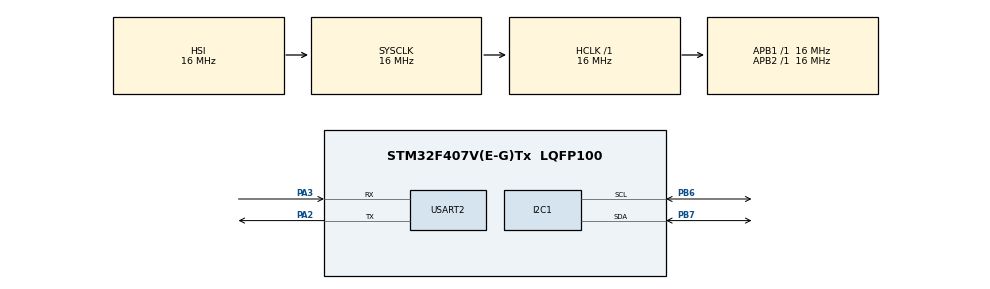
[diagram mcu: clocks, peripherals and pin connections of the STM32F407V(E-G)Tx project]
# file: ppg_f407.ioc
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I2C1.I2C_Mode=I2C_Fast
Mcu.Family=STM32F4
Mcu.Name=STM32F407V(E-G)Tx
Mcu.Package=LQFP100
NVIC.PriorityGroup=NVIC_PRIORITYGROUP_4
PA13.Mode=Serial_Wire
PA13.Signal=SYS_JTMS-SWDIO
PA14.Mode=Serial_Wire
PA14.Signal=SYS_JTCK-SWCLK
PA2.Mode=Asynchronous
PA2.Signal=USART2_TX
PA3.Mode=Asynchronous
PA3.Signal=USART2_RX
PB6.Mode=I2C
PB6.Signal=I2C1_SCL
PB7.Mode=I2C
PB7.Signal=I2C1_SDA
PH0-OSC_IN.Mode=HSE-External-Oscillator
PH0-OSC_IN.Signal=RCC_OSC_IN
PH1-OSC_OUT.Mode=HSE-External-Oscillator
PH1-OSC_OUT.Signal=RCC_OSC_OUT
ProjectManager.HeapSize=0x200
ProjectManager.StackSize=0x400
ProjectManager.TargetToolchain=STM32CubeIDE
RCC.AHBFreq_Value=16000000
RCC.APB1Freq_Value=16000000
RCC.APB2Freq_Value=16000000
RCC.CortexFreq_Value=16000000
RCC.HSE_VALUE=25000000
RCC.HSI_VALUE=16000000
RCC.LSE_VALUE=32768
RCC.SYSCLKFreq_VALUE=16000000
RCC.VCOOutputFreq_Value=192000000
USART2.VirtualMode=VM_ASYNC
board=custom

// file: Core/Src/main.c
/* USER CODE BEGIN Header */
/**
  ******************************************************************************
  * @file           : main.c
  * @brief          : Main program body
  ******************************************************************************
  * @attention
  *
  * Copyright (c) 2026 STMicroelectronics.
  * All rights reserved.
  *
  * This software is licensed under terms that can be found in the LICENSE file
  * in the root directory of this software component.
  * If no LICENSE file comes with this software, it is provided AS-IS.
  *
  ******************************************************************************
  */
/* USER CODE END Header */
#include "main.h"

/* USER CODE BEGIN Includes */
#include <stdio.h>
#include <string.h>
#include "dsp_nlms.h"
#include "sqi_model.h"
/* USER CODE END Includes */

/* USER CODE BEGIN PD */
#define MAX30102_ADDR      (0x57 << 1)   /* HAL dung dia chi 7-bit dich trai 1 */

#define REG_INTR_ENABLE_1  0x02
#define REG_INTR_ENABLE_2  0x03
#define REG_FIFO_WR_PTR    0x04
#define REG_OVF_COUNTER    0x05
#define REG_FIFO_RD_PTR    0x06
#define REG_FIFO_DATA      0x07
#define REG_FIFO_CONFIG    0x08
#define REG_MODE_CONFIG    0x09
#define REG_SPO2_CONFIG    0x0A
#define REG_LED1_PA        0x0C          /* Red */
#define REG_LED2_PA        0x0D          /* IR  */
#define REG_PART_ID        0xFF          /* doc ra 0x15 neu dung MAX30102 */

#define USE_OLED           1             /* dat 0 khi THU DU LIEU de dong bo PPG-gia toc tot hon */

/* MPU6050 (AD0 de trong / noi GND -> 0x68) */
#define MPU_ADDR           (0x68 << 1)
#define MPU_REG_SMPLRT_DIV 0x19
#define MPU_REG_CONFIG     0x1A
#define MPU_REG_ACCEL_CFG  0x1C
#define MPU_REG_ACCEL_OUT  0x3B
#define MPU_REG_PWR_MGMT_1 0x6B
#define MPU_REG_WHO_AM_I   0x75

#define OLED_ADDR          (0x3C << 1)   /* SSD1306; mot so module la 0x3D */
#define OLED_W             128
#define OLED_H             64
#define WAVE_LEN           128
/* USER CODE END PD */

I2C_HandleTypeDef hi2c1;

UART_HandleTypeDef huart2;

void SystemClock_Config(void);
static void MX_GPIO_Init(void);
static void MX_I2C1_Init(void);
static void MX_USART2_UART_Init(void);

/* USER CODE BEGIN 0 */
/* Cho phep printf() gui qua USART2 */
int __io_putchar(int ch)
{
    ITM_SendChar(ch);                      /* xem bang SWV; khong bat SWV thi bo qua */
    HAL_UART_Transmit(&huart2, (uint8_t *)&ch, 1, 10);   /* gui qua USB-TTL (PA2) */
    return ch;
}

static HAL_StatusTypeDef max_write(uint8_t reg, uint8_t val)
{
    return HAL_I2C_Mem_Write(&hi2c1, MAX30102_ADDR, reg, I2C_MEMADD_SIZE_8BIT, &val, 1, 50);
}

static HAL_StatusTypeDef max_read(uint8_t reg, uint8_t *buf, uint16_t len)
{
    return HAL_I2C_Mem_Read(&hi2c1, MAX30102_ADDR, reg, I2C_MEMADD_SIZE_8BIT, buf, len, 50);
}

static void i2c_scan(void)
{
    printf("Quet I2C...\r\n");
    int found = 0;
    for (uint8_t a = 1; a < 128; a++) {
        if (HAL_I2C_IsDeviceReady(&hi2c1, a << 1, 1, 10) == HAL_OK) {
            printf("  Thay thiet bi tai 0x%02X\r\n", a);
            found++;
        }
    }
    if (!found) printf("  Khong thay thiet bi nao. Kiem tra day, nguon 3V, SCL/SDA.\r\n");
}

static int max30102_init(void)
{
    uint8_t id = 0;
    if (max_read(REG_PART_ID, &id, 1) != HAL_OK) return -1;
    printf("PART_ID = 0x%02X (mong doi 0x15)\r\n", id);
    if (id != 0x15) return -2;

    max_write(REG_MODE_CONFIG, 0x40);      /* reset */
    HAL_Delay(100);

    max_write(REG_INTR_ENABLE_1, 0x00);    /* khong dung ngat */
    max_write(REG_INTR_ENABLE_2, 0x00);
    max_write(REG_FIFO_WR_PTR, 0x00);      /* xoa con tro FIFO */
    max_write(REG_OVF_COUNTER, 0x00);
    max_write(REG_FIFO_RD_PTR, 0x00);

    max_write(REG_FIFO_CONFIG, 0x10);      /* khong trung binh, rollover bat */
    max_write(REG_SPO2_CONFIG, 0x27);      /* ADC 4096nA, 100 Hz, 18-bit */
    max_write(REG_LED1_PA, 0x24);          /* LED Red ~7 mA */
    max_write(REG_LED2_PA, 0x24);          /* LED IR  ~7 mA */
    max_write(REG_MODE_CONFIG, 0x03);      /* che do SpO2: Red + IR */
    return 0;
}

/* Doc tat ca mau dang co trong FIFO, in ra "index,red,ir" */
/* ---------------- MPU6050 ---------------- */
static int16_t g_ax = 0, g_ay = 0, g_az = 0;   /* gia tri tho; +-4g -> 8192 LSB/g */

static int mpu6050_init(void)
{
    uint8_t id = 0, v;
    if (HAL_I2C_Mem_Read(&hi2c1, MPU_ADDR, MPU_REG_WHO_AM_I, I2C_MEMADD_SIZE_8BIT, &id, 1, 50) != HAL_OK)
        return -1;
    printf("MPU6050 WHO_AM_I = 0x%02X (mong doi 0x68)\r\n", id);
    if (id != 0x68) return -2;
    v = 0x00; HAL_I2C_Mem_Write(&hi2c1, MPU_ADDR, MPU_REG_PWR_MGMT_1, I2C_MEMADD_SIZE_8BIT, &v, 1, 50); /* danh thuc */
    HAL_Delay(50);
    v = 0x03; HAL_I2C_Mem_Write(&hi2c1, MPU_ADDR, MPU_REG_CONFIG,     I2C_MEMADD_SIZE_8BIT, &v, 1, 50); /* loc so ~44 Hz */
    v = 0x07; HAL_I2C_Mem_Write(&hi2c1, MPU_ADDR, MPU_REG_SMPLRT_DIV, I2C_MEMADD_SIZE_8BIT, &v, 1, 50); /* 1 kHz/8 = 125 Hz noi bo */
    v = 0x08; HAL_I2C_Mem_Write(&hi2c1, MPU_ADDR, MPU_REG_ACCEL_CFG,  I2C_MEMADD_SIZE_8BIT, &v, 1, 50); /* +-4g */
    return 0;
}

static void mpu6050_read(void)
{
    uint8_t b[6];
    if (HAL_I2C_Mem_Read(&hi2c1, MPU_ADDR, MPU_REG_ACCEL_OUT, I2C_MEMADD_SIZE_8BIT, b, 6, 50) != HAL_OK) return;
    g_ax = (int16_t)((b[0] << 8) | b[1]);
    g_ay = (int16_t)((b[2] << 8) | b[3]);
    g_az = (int16_t)((b[4] << 8) | b[5]);
}

static uint32_t g_red = 0, g_ir = 0;
static uint32_t wave[WAVE_LEN];
static uint32_t wave_cnt = 0;
static PPG_NLMS g_nlms;
static SQI_State g_sqi;
static float g_ppg_bp = 0.0f, g_ppg_nlms = 0.0f;

#define SESS_TOTAL_SAMPLES  6000U   /* 60 s @ 100 Hz */
#define PREPARE_SECONDS     5U      /* dem nguoc 5s chuan bi truoc khi do */
#define FINGER_IR_THRESH    50000U  /* nguong nhan biet co ngon tay */

typedef enum {
    STATE_IDLE = 0,
    STATE_PREPARE = 1,
    STATE_MEASURING = 2,
    STATE_RESULT = 3
} MeasState;

static MeasState g_state = STATE_IDLE;
static uint32_t g_prep_start_ms = 0;
static uint32_t g_sess_samples = 0;
static uint16_t g_finger_cnt = 0;
static uint16_t g_win_total = 0;
static uint16_t g_win_good = 0;
static float g_hr_good_sum = 0.0f;
static uint16_t g_hr_good_cnt = 0;
static float g_hr_all_sum = 0.0f;
static uint16_t g_hr_all_cnt = 0;
static int g_res_hr = 0;
static int g_res_sqi_pct = 0;

static void prepare_start(void)
{
    g_prep_start_ms = HAL_GetTick();
    g_finger_cnt = 0;
    g_state = STATE_PREPARE;
    printf("=== CHUAN BI %uS... ===\r\n", (unsigned)PREPARE_SECONDS);
}

static void session_start(void)
{
    ppg_nlms_init(&g_nlms);
    sqi_init(&g_sqi);
    wave_cnt = 0;
    g_sess_samples = 0;
    g_win_total = 0;
    g_win_good = 0;
    g_hr_good_sum = 0.0f;
    g_hr_good_cnt = 0;
    g_hr_all_sum = 0.0f;
    g_hr_all_cnt = 0;
    g_res_hr = 0;
    g_res_sqi_pct = 0;
    g_state = STATE_MEASURING;
    printf("=== BAT DAU DO 60S ===\r\n");
}

static void session_finish(void)
{
    if (g_hr_good_cnt > 0) {
        g_res_hr = (int)(g_hr_good_sum / (float)g_hr_good_cnt + 0.5f);
    } else if (g_hr_all_cnt > 0) {
        g_res_hr = (int)(g_hr_all_sum / (float)g_hr_all_cnt + 0.5f);
    } else {
        g_res_hr = (int)(g_nlms.hr_bpm + 0.5f);
    }
    g_res_sqi_pct = (g_win_total > 0) ? (int)((100U * g_win_good) / g_win_total) : 0;
    g_state = STATE_RESULT;
    printf("=== KET QUA 60S: HR_avg=%d bpm | SQI=%u/%u (%d%% GOOD) | STATUS=%s ===\r\n",
           g_res_hr, (unsigned)g_win_good, (unsigned)g_win_total, g_res_sqi_pct,
           (g_res_sqi_pct >= 50) ? "OK" : "RETRY");
}

static void max30102_poll_and_print(void)
{
    static uint32_t idx = 0;
    uint8_t wr, rd;
    if (max_read(REG_FIFO_WR_PTR, &wr, 1) != HAL_OK) return;
    if (max_read(REG_FIFO_RD_PTR, &rd, 1) != HAL_OK) return;

    int n = (wr - rd) & 0x1F;              /* FIFO 32 mau */
    while (n--) {
        uint8_t b[6];
        if (max_read(REG_FIFO_DATA, b, 6) != HAL_OK) return;
        uint32_t red = (((uint32_t)b[0] << 16) | ((uint32_t)b[1] << 8) | b[2]) & 0x3FFFF;
        uint32_t ir  = (((uint32_t)b[3] << 16) | ((uint32_t)b[4] << 8) | b[5]) & 0x3FFFF;
        g_red = red; g_ir = ir;

        if (g_state == STATE_IDLE) {
            if (ir > FINGER_IR_THRESH) {
                if (++g_finger_cnt >= 20) { /* giu ngon tay ~0.2s -> dem nguoc 5s chuan bi */
                    prepare_start();
                }
            } else {
                g_finger_cnt = 0;
            }
            continue;
        }

        if (g_state != STATE_MEASURING) continue;

        g_ppg_nlms = ppg_nlms_step(&g_nlms, (float)ir, g_ax, g_ay, g_az, &g_ppg_bp);
        if (sqi_push_sample(&g_sqi, (float)ir, g_ppg_bp, g_ppg_nlms, g_ax, g_ay, g_az)) {
            g_win_total++;
            if (g_nlms.hr_bpm >= 40.0f && g_nlms.hr_bpm <= 180.0f) {
                g_hr_all_sum += g_nlms.hr_bpm;
                g_hr_all_cnt++;
            }
            if (g_sqi.label) {
                g_win_good++;
                if (g_nlms.hr_bpm >= 40.0f && g_nlms.hr_bpm <= 180.0f) {
                    g_hr_good_sum += g_nlms.hr_bpm;
                    g_hr_good_cnt++;
                }
            }
        }
        if ((idx & 1) == 0) {              /* lay 1 trong 2 mau: song dai ~2.5 s */
            wave[wave_cnt % WAVE_LEN] = ir;
            wave_cnt++;
        }
        printf("%lu,%lu,%lu,%d,%d,%d\r\n", (unsigned long)idx++, (unsigned long)red, (unsigned long)ir,
               g_ax, g_ay, g_az);

        g_sess_samples++;
        if (g_sess_samples >= SESS_TOTAL_SAMPLES) {
            session_finish();
            break;
        }
    }
}

/* ---------------- OLED SSD1306 128x64 (I2C) ---------------- */
static uint8_t oled_buf[OLED_W * OLED_H / 8];
static int oled_ok = 0;

/* Font 5x7, moi cot 1 byte, bit0 la hang tren cung. Chi gom ky tu can dung. */
static const uint8_t *glyph(char c)
{
    static const uint8_t g_digits[10][5] = {
        {0x3E,0x51,0x49,0x45,0x3E}, {0x00,0x42,0x7F,0x40,0x00},
        {0x42,0x61,0x51,0x49,0x46}, {0x21,0x41,0x45,0x4B,0x31},
        {0x18,0x14,0x12,0x7F,0x10}, {0x27,0x45,0x45,0x45,0x39},
        {0x3C,0x4A,0x49,0x49,0x30}, {0x01,0x71,0x09,0x05,0x03},
        {0x36,0x49,0x49,0x49,0x36}, {0x06,0x49,0x49,0x29,0x1E}};
    static const uint8_t g_colon[5] = {0x00,0x36,0x36,0x00,0x00};
    static const uint8_t g_dot[5]   = {0x00,0x60,0x60,0x00,0x00};
    static const uint8_t g_slash[5] = {0x20,0x10,0x08,0x04,0x02};
    static const uint8_t g_pct[5]   = {0x23,0x13,0x08,0x64,0x62};
    static const uint8_t g_lpar[5]  = {0x00,0x1C,0x22,0x41,0x00};
    static const uint8_t g_rpar[5]  = {0x00,0x41,0x22,0x1C,0x00};
    static const uint8_t g_A[5]     = {0x7E,0x11,0x11,0x11,0x7E};
    static const uint8_t g_B[5]     = {0x7F,0x49,0x49,0x49,0x36};
    static const uint8_t g_C[5]     = {0x3E,0x41,0x41,0x41,0x22};
    static const uint8_t g_D[5]     = {0x7F,0x41,0x41,0x22,0x1C};
    static const uint8_t g_E[5]     = {0x7F,0x49,0x49,0x49,0x41};
    static const uint8_t g_F[5]     = {0x7F,0x09,0x09,0x09,0x01};
    static const uint8_t g_G[5]     = {0x3E,0x41,0x49,0x49,0x7A};
    static const uint8_t g_H[5]     = {0x7F,0x08,0x08,0x08,0x7F};
    static const uint8_t g_I[5]     = {0x00,0x41,0x7F,0x41,0x00};
    static const uint8_t g_K[5]     = {0x7F,0x08,0x14,0x22,0x41};
    static const uint8_t g_L[5]     = {0x7F,0x40,0x40,0x40,0x40};
    static const uint8_t g_M[5]     = {0x7F,0x02,0x0C,0x02,0x7F};
    static const uint8_t g_N[5]     = {0x7F,0x04,0x08,0x10,0x7F};
    static const uint8_t g_O[5]     = {0x3E,0x41,0x41,0x41,0x3E};
    static const uint8_t g_P[5]     = {0x7F,0x09,0x09,0x09,0x06};
    static const uint8_t g_Q[5]     = {0x3E,0x41,0x51,0x21,0x5E};
    static const uint8_t g_R[5]     = {0x7F,0x09,0x19,0x29,0x46};
    static const uint8_t g_S[5]     = {0x46,0x49,0x49,0x49,0x31};
    static const uint8_t g_T[5]     = {0x01,0x01,0x7F,0x01,0x01};
    static const uint8_t g_U[5]     = {0x3F,0x40,0x40,0x40,0x3F};
    static const uint8_t g_V[5]     = {0x1F,0x20,0x40,0x20,0x1F};
    static const uint8_t g_W[5]     = {0x3F,0x40,0x38,0x40,0x3F};
    static const uint8_t g_Y[5]     = {0x07,0x08,0x70,0x08,0x07};
    static const uint8_t g_blank[5] = {0,0,0,0,0};
    if (c >= '0' && c <= '9') return g_digits[c - '0'];
    if (c == ':') return g_colon;
    if (c == '.') return g_dot;
    if (c == '/') return g_slash;
    if (c == '%') return g_pct;
    if (c == '(') return g_lpar;
    if (c == ')') return g_rpar;
    if (c == 'A') return g_A;
    if (c == 'B') return g_B;
    if (c == 'C') return g_C;
    if (c == 'D') return g_D;
    if (c == 'E') return g_E;
    if (c == 'F') return g_F;
    if (c == 'G') return g_G;
    if (c == 'H') return g_H;
    if (c == 'I') return g_I;
    if (c == 'K') return g_K;
    if (c == 'L') return g_L;
    if (c == 'M') return g_M;
    if (c == 'N') return g_N;
    if (c == 'O') return g_O;
    if (c == 'P') return g_P;
    if (c == 'Q') return g_Q;
    if (c == 'R') return g_R;
    if (c == 'S') return g_S;
    if (c == 'T') return g_T;
    if (c == 'U') return g_U;
    if (c == 'V') return g_V;
    if (c == 'W') return g_W;
    if (c == 'Y') return g_Y;
    return g_blank;
}

static void oled_cmd(uint8_t c)
{
    HAL_I2C_Mem_Write(&hi2c1, OLED_ADDR, 0x00, I2C_MEMADD_SIZE_8BIT, &c, 1, 50);
}

static int oled_init(void)
{
    if (HAL_I2C_IsDeviceReady(&hi2c1, OLED_ADDR, 2, 20) != HAL_OK) return -1;
    static const uint8_t seq[] = {
        0xAE, 0xD5,0x80, 0xA8,0x3F, 0xD3,0x00, 0x40, 0x8D,0x14,
        0x20,0x00, 0xA1, 0xC8, 0xDA,0x12, 0x81,0xCF, 0xD9,0xF1,
        0xDB,0x40, 0xA4, 0xA6, 0xAF };
    for (unsigned i = 0; i < sizeof(seq); i++) oled_cmd(seq[i]);
    memset(oled_buf, 0, sizeof(oled_buf));
    return 0;
}

static void oled_update(void)
{
    oled_cmd(0x21); oled_cmd(0); oled_cmd(127);   /* cot 0..127 */
    oled_cmd(0x22); oled_cmd(0); oled_cmd(7);     /* trang 0..7 */
    HAL_I2C_Mem_Write(&hi2c1, OLED_ADDR, 0x40, I2C_MEMADD_SIZE_8BIT,
                      oled_buf, sizeof(oled_buf), 200);
}

static void oled_pixel(int x, int y)
{
    if (x < 0 || x >= OLED_W || y < 0 || y >= OLED_H) return;
    oled_buf[x + (y >> 3) * OLED_W] |= (1 << (y & 7));
}

static void oled_text(int x, int y, const char *s)
{
    for (; *s; s++, x += 6) {
        const uint8_t *g = glyph(*s);
        for (int cx = 0; cx < 5; cx++)
            for (int cy = 0; cy < 7; cy++)
                if (g[cx] & (1 << cy)) oled_pixel(x + cx, y + cy);
    }
}

/* Ve OLED theo 3 trang thai: IDLE / MEASURING (60s) / RESULT */
static void oled_draw(void)
{
    char line[24];
    memset(oled_buf, 0, sizeof(oled_buf));

    if (g_state == STATE_IDLE) {
        oled_text(0, 0,  "PPG SQI 60S");
        oled_text(0, 16, "PUT FINGER ON");
        oled_text(0, 28, "SENSOR TO START");
        snprintf(line, sizeof(line), "IR:%lu", (unsigned long)g_ir);
        oled_text(0, 48, line);
        return;
    }

    if (g_state == STATE_PREPARE) {
        uint32_t el = HAL_GetTick() - g_prep_start_ms;
        unsigned rem = (el < PREPARE_SECONDS * 1000U)
                       ? (unsigned)(PREPARE_SECONDS - (el / 1000U)) : 0U;
        oled_text(0, 0, "GET READY...");
        snprintf(line, sizeof(line), "START IN: %uS", rem);
        oled_text(0, 18, line);
        oled_text(0, 36, "HOLD FINGER STILL");
        return;
    }

    if (g_state == STATE_RESULT) {
        oled_text(0, 0, "DONE 60S RESULT");
        snprintf(line, sizeof(line), "HR AVG: %d BPM", g_res_hr);
        oled_text(0, 14, line);
        snprintf(line, sizeof(line), "SQI: %d%% GOOD", g_res_sqi_pct);
        oled_text(0, 26, line);
        snprintf(line, sizeof(line), "STATUS: %s", (g_res_sqi_pct >= 50) ? "OK" : "RETRY");
        oled_text(0, 38, line);
        oled_text(0, 52, "PRESS BTN: NEW");
        return;
    }

    /* STATE_MEASURING */
    unsigned sec = (unsigned)(g_sess_samples / 100U);
    snprintf(line, sizeof(line), "REC %02u/60S HR:%d", sec, (int)(g_nlms.hr_bpm + 0.5f));
    oled_text(0, 0, line);
    if (!g_sqi.ready) {
        snprintf(line, sizeof(line), "SQI:WAIT");
    } else {
        snprintf(line, sizeof(line), "SQI:%s (%u/%u)", g_sqi.label ? "GOOD" : "BAD",
                 (unsigned)g_win_good, (unsigned)g_win_total);
    }
    oled_text(0, 8, line);

    int n = (wave_cnt < WAVE_LEN) ? (int)wave_cnt : WAVE_LEN;
    if (n < 2) return;
    uint32_t mn = 0xFFFFFFFF, mx = 0;
    for (int i = 0; i < n; i++) {
        uint32_t v = wave[(wave_cnt - n + i) % WAVE_LEN];
        if (v < mn) mn = v;
        if (v > mx) mx = v;
    }
    uint32_t range = (mx > mn) ? (mx - mn) : 1;
    int prev_y = -1;
    for (int i = 0; i < n; i++) {
        uint32_t v = wave[(wave_cnt - n + i) % WAVE_LEN];
        int y = 63 - (int)(((uint64_t)(v - mn) * 46) / range);   /* vung y = 17..63 */
        int y0 = (prev_y < 0) ? y : prev_y;
        int a = (y0 < y) ? y0 : y, b = (y0 < y) ? y : y0;
        for (int yy = a; yy <= b; yy++) oled_pixel(i, yy);
        prev_y = y;
    }
}
/* USER CODE END 0 */

int main(void)
{

  /* MCU Configuration--------------------------------------------------------*/

  /* Reset of all peripherals, Initializes the Flash interface and the Systick. */
  HAL_Init();

  /* Configure the system clock */
  SystemClock_Config();

  /* Initialize all configured peripherals */
  MX_GPIO_Init();
  MX_I2C1_Init();
  MX_USART2_UART_Init();
  /* USER CODE BEGIN 2 */
  setvbuf(stdout, NULL, _IONBF, 0);        /* in ra UART ngay, khong dem */
  ppg_nlms_init(&g_nlms);
  sqi_init(&g_sqi);
  HAL_Delay(500);
  i2c_scan();
  oled_ok = (oled_init() == 0);
  printf(oled_ok ? "OLED OK\r\n" : "Khong thay OLED (0x3C)\r\n");
  if (mpu6050_init() != 0) printf("Khoi tao MPU6050 loi!\r\n");
  else                     printf("MPU6050 OK\r\n");
  if (max30102_init() != 0) {
      printf("Khoi tao MAX30102 loi!\r\n");
  } else {
      printf("MAX30102 OK. Du lieu: index,red,ir,ax,ay,az\r\n");
  }
  /* USER CODE END 2 */

  /* Infinite loop */
  while (1)
  {

    /* USER CODE BEGIN 3 */
    static uint32_t next_tick = 0;
    static uint8_t prev_btn = 0;
    uint32_t now = HAL_GetTick();

    /* Nut USER PA0 (muc cao khi bam): bam de bat dau/do lai 60s (co 5s chuan bi) */
    uint8_t btn = (HAL_GPIO_ReadPin(GPIOA, GPIO_PIN_0) == GPIO_PIN_SET) ? 1 : 0;
    if (btn && !prev_btn) {
        if (g_state == STATE_IDLE || g_state == STATE_RESULT) {
            prepare_start();
        }
    }
    prev_btn = btn;

    if (g_state == STATE_PREPARE) {
        if (now - g_prep_start_ms >= PREPARE_SECONDS * 1000U) {
            session_start();
        }
    } else if (now >= next_tick) {
        next_tick += 10;                       /* chu ky 10 ms = 100 Hz */
        if (now > next_tick + 10) next_tick = now + 10;
        if (g_state == STATE_MEASURING) {
            mpu6050_read();                    /* gia toc ngay truoc khi doc FIFO PPG */
            max30102_poll_and_print();
        } else if (g_state == STATE_IDLE) {
            max30102_poll_and_print();         /* kiem tra dat ngon tay */
        }
    }
#if USE_OLED
    if (oled_ok) {
        static uint32_t t_oled = 0;
        static MeasState last_drawn_state = STATE_RESULT;
        uint32_t period = (g_state == STATE_MEASURING) ? 1000U : 250U;
        if (g_state != last_drawn_state || (now - t_oled >= period)) {
            t_oled = now;
            last_drawn_state = g_state;
            oled_draw();
            oled_update();
        }
    }
#endif
  }
  /* USER CODE END 3 */
}

void SystemClock_Config(void)
{
  RCC_OscInitTypeDef RCC_OscInitStruct = {0};
  RCC_ClkInitTypeDef RCC_ClkInitStruct = {0};

  /** Configure the main internal regulator output voltage
  */
  __HAL_RCC_PWR_CLK_ENABLE();
  __HAL_PWR_VOLTAGESCALING_CONFIG(PWR_REGULATOR_VOLTAGE_SCALE1);

  /** Initializes the RCC Oscillators according to the specified parameters
  * in the RCC_OscInitTypeDef structure.
  */
  RCC_OscInitStruct.OscillatorType = RCC_OSCILLATORTYPE_HSI;
  RCC_OscInitStruct.HSIState = RCC_HSI_ON;
  RCC_OscInitStruct.HSICalibrationValue = RCC_HSICALIBRATION_DEFAULT;
  RCC_OscInitStruct.PLL.PLLState = RCC_PLL_NONE;
  if (HAL_RCC_OscConfig(&RCC_OscInitStruct) != HAL_OK)
  {
    Error_Handler();
  }

  /** Initializes the CPU, AHB and APB buses clocks
  */
  RCC_ClkInitStruct.ClockType = RCC_CLOCKTYPE_HCLK|RCC_CLOCKTYPE_SYSCLK
                              |RCC_CLOCKTYPE_PCLK1|RCC_CLOCKTYPE_PCLK2;
  RCC_ClkInitStruct.SYSCLKSource = RCC_SYSCLKSOURCE_HSI;
  RCC_ClkInitStruct.AHBCLKDivider = RCC_SYSCLK_DIV1;
  RCC_ClkInitStruct.APB1CLKDivider = RCC_HCLK_DIV1;
  RCC_ClkInitStruct.APB2CLKDivider = RCC_HCLK_DIV1;

  if (HAL_RCC_ClockConfig(&RCC_ClkInitStruct, FLASH_LATENCY_0) != HAL_OK)
  {
    Error_Handler();
  }
}

static void MX_I2C1_Init(void)
{

  hi2c1.Instance = I2C1;
  hi2c1.Init.ClockSpeed = 400000;
  hi2c1.Init.DutyCycle = I2C_DUTYCYCLE_2;
  hi2c1.Init.OwnAddress1 = 0;
  hi2c1.Init.AddressingMode = I2C_ADDRESSINGMODE_7BIT;
  hi2c1.Init.DualAddressMode = I2C_DUALADDRESS_DISABLE;
  hi2c1.Init.OwnAddress2 = 0;
  hi2c1.Init.GeneralCallMode = I2C_GENERALCALL_DISABLE;
  hi2c1.Init.NoStretchMode = I2C_NOSTRETCH_DISABLE;
  if (HAL_I2C_Init(&hi2c1) != HAL_OK)
  {
    Error_Handler();
  }

}

static void MX_USART2_UART_Init(void)
{

  huart2.Instance = USART2;
  huart2.Init.BaudRate = 115200;
  huart2.Init.WordLength = UART_WORDLENGTH_8B;
  huart2.Init.StopBits = UART_STOPBITS_1;
  huart2.Init.Parity = UART_PARITY_NONE;
  huart2.Init.Mode = UART_MODE_TX_RX;
  huart2.Init.HwFlowCtl = UART_HWCONTROL_NONE;
  huart2.Init.OverSampling = UART_OVERSAMPLING_16;
  if (HAL_UART_Init(&huart2) != HAL_OK)
  {
    Error_Handler();
  }

}

static void MX_GPIO_Init(void)
{

  /* GPIO Ports Clock Enable */
  __HAL_RCC_GPIOH_CLK_ENABLE();
  __HAL_RCC_GPIOA_CLK_ENABLE();
  __HAL_RCC_GPIOB_CLK_ENABLE();

  /* USER CODE BEGIN MX_GPIO_Init_2 */
  GPIO_InitTypeDef GPIO_InitStruct = {0};
  GPIO_InitStruct.Pin = GPIO_PIN_0;
  GPIO_InitStruct.Mode = GPIO_MODE_INPUT;
  GPIO_InitStruct.Pull = GPIO_PULLDOWN;
  HAL_GPIO_Init(GPIOA, &GPIO_InitStruct);
  /* USER CODE END MX_GPIO_Init_2 */
}

void Error_Handler(void)
{
  __disable_irq();
  while (1)
  {
  }
}
